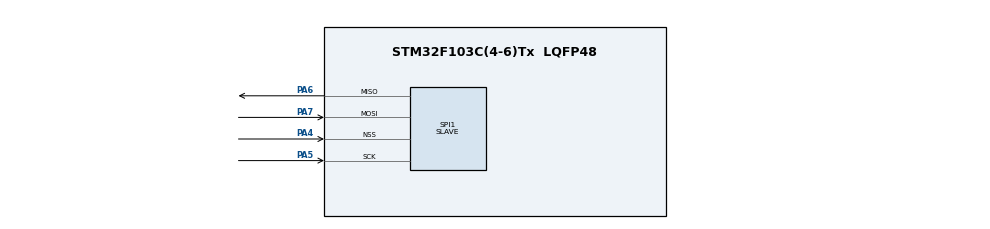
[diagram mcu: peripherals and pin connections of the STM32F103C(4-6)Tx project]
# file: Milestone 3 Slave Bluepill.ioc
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Mcu.Family=STM32F1
Mcu.Name=STM32F103C(4-6)Tx
Mcu.Package=LQFP48
NVIC.PriorityGroup=NVIC_PRIORITYGROUP_4
NVIC.SPI1_IRQn=true\:0\:0\:false\:false\:true\:true\:true\:true
PA4.Mode=NSS_Signal_Hard_Input
PA4.Signal=SPI1_NSS
PA5.Mode=Full_Duplex_Slave
PA5.Signal=SPI1_SCK
PA6.Mode=Full_Duplex_Slave
PA6.Signal=SPI1_MISO
PA7.Mode=Full_Duplex_Slave
PA7.Signal=SPI1_MOSI
ProjectManager.HeapSize=0x200
ProjectManager.StackSize=0x400
ProjectManager.TargetToolchain=STM32CubeIDE
RCC.APB1Freq_Value=8000000
RCC.APB2Freq_Value=8000000
SPI1.Direction=SPI_DIRECTION_2LINES
SPI1.Mode=SPI_MODE_SLAVE
SPI1.VirtualNSS=VM_NSSHARD
SPI1.VirtualType=VM_SLAVE
VP_SYS_VS_ND.Mode=No_Debug
board=custom

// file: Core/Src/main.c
/* USER CODE BEGIN Header */
/**
  ******************************************************************************
  * @file           : main.c
  * @brief          : Main program body
  ******************************************************************************
  * @attention
  *
  * Copyright (c) 2026 STMicroelectronics.
  * All rights reserved.
  *
  * This software is licensed under terms that can be found in the LICENSE file
  * in the root directory of this software component.
  * If no LICENSE file comes with this software, it is provided AS-IS.
  *
  ******************************************************************************
  */
/* USER CODE END Header */
#include "main.h"
#include "string.h"
#include <stdio.h>

/* USER CODE BEGIN PM */
#pragma pack(push, 1)
struct motor_data {
    uint8_t voltage_x10; // 1 byte
    uint16_t speed;      // 2 bytes
};                       // Total = 3 bytes = 24 bits
#pragma pack(pop)

uint16_t rx_id;
struct motor_data tx_buffer = {0, 0};

struct motor_data record_motor_datas[6] = {
		{123, 200},
		{142, 150},
		{138, 100},
		{115, 220},
		{109, 280},
		{0, 0} // default value for invalide case_IDs
};

/* USER CODE END PM */

SPI_HandleTypeDef hspi1;

void SystemClock_Config(void);
static void MX_GPIO_Init(void);
static void MX_SPI1_Init(void);

int main(void)
{

  /* MCU Configuration--------------------------------------------------------*/

  /* Reset of all peripherals, Initializes the Flash interface and the Systick. */
  HAL_Init();

  /* Configure the system clock */
  SystemClock_Config();

  /* Initialize all configured peripherals */
  MX_GPIO_Init();
  MX_SPI1_Init();
  /* USER CODE BEGIN 2 */
  __HAL_SPI_DISABLE(&hspi1);
  __HAL_SPI_CLEAR_OVRFLAG(&hspi1);
  __HAL_SPI_ENABLE(&hspi1);
  /* USER CODE END 2 */

  /* Infinite loop */
  /* USER CODE BEGIN WHILE */
  while (1)
  {
	  if (HAL_SPI_Receive(&hspi1, (uint8_t *)&rx_id, sizeof(rx_id), 100) == HAL_OK)
	      {
	          switch (rx_id)
	          {
				case 0x1001:
					tx_buffer = record_motor_datas[0];
				break;
				case 0x1002:
					tx_buffer = record_motor_datas[1];
				break;
				case 0x1003:
					tx_buffer = record_motor_datas[2];
				break;
				case 0x1004:
					tx_buffer = record_motor_datas[3];
				break;
				case 0x1005:
					tx_buffer = record_motor_datas[4];
				break;
				default:
					tx_buffer = record_motor_datas[5];
				break;
	          }

	          // Wait for master to clock out the 4 response bytes
	          HAL_SPI_Transmit(&hspi1, (uint8_t *)&tx_buffer, sizeof(tx_buffer), 200);
	      }
  }
  /* USER CODE END 3 */
}

void SystemClock_Config(void)
{
  RCC_OscInitTypeDef RCC_OscInitStruct = {0};
  RCC_ClkInitTypeDef RCC_ClkInitStruct = {0};

  /** Initializes the RCC Oscillators according to the specified parameters
  * in the RCC_OscInitTypeDef structure.
  */
  RCC_OscInitStruct.OscillatorType = RCC_OSCILLATORTYPE_HSI;
  RCC_OscInitStruct.HSIState = RCC_HSI_ON;
  RCC_OscInitStruct.HSICalibrationValue = RCC_HSICALIBRATION_DEFAULT;
  RCC_OscInitStruct.PLL.PLLState = RCC_PLL_NONE;
  if (HAL_RCC_OscConfig(&RCC_OscInitStruct) != HAL_OK)
  {
    Error_Handler();
  }

  /** Initializes the CPU, AHB and APB buses clocks
  */
  RCC_ClkInitStruct.ClockType = RCC_CLOCKTYPE_HCLK|RCC_CLOCKTYPE_SYSCLK
                              |RCC_CLOCKTYPE_PCLK1|RCC_CLOCKTYPE_PCLK2;
  RCC_ClkInitStruct.SYSCLKSource = RCC_SYSCLKSOURCE_HSI;
  RCC_ClkInitStruct.AHBCLKDivider = RCC_SYSCLK_DIV1;
  RCC_ClkInitStruct.APB1CLKDivider = RCC_HCLK_DIV1;
  RCC_ClkInitStruct.APB2CLKDivider = RCC_HCLK_DIV1;

  if (HAL_RCC_ClockConfig(&RCC_ClkInitStruct, FLASH_LATENCY_0) != HAL_OK)
  {
    Error_Handler();
  }
}

static void MX_SPI1_Init(void)
{

  /* SPI1 parameter configuration*/
  hspi1.Instance = SPI1;
  hspi1.Init.Mode = SPI_MODE_SLAVE;
  hspi1.Init.Direction = SPI_DIRECTION_2LINES;
  hspi1.Init.DataSize = SPI_DATASIZE_8BIT;
  hspi1.Init.CLKPolarity = SPI_POLARITY_LOW;
  hspi1.Init.CLKPhase = SPI_PHASE_1EDGE;
  hspi1.Init.NSS = SPI_NSS_HARD_INPUT;
//  hspi1.Init.NSS = SPI_NSS_SOFT;
  hspi1.Init.FirstBit = SPI_FIRSTBIT_MSB;
  hspi1.Init.TIMode = SPI_TIMODE_DISABLE;
  hspi1.Init.CRCCalculation = SPI_CRCCALCULATION_DISABLE;
  hspi1.Init.CRCPolynomial = 10;
  if (HAL_SPI_Init(&hspi1) != HAL_OK)
  {
    Error_Handler();
  }
  /* USER CODE BEGIN SPI1_Init 2 */
  HAL_NVIC_SetPriority(SPI1_IRQn, 0, 0);
  HAL_NVIC_EnableIRQ(SPI1_IRQn);
  /* USER CODE END SPI1_Init 2 */

}

static void MX_GPIO_Init(void)
{

  /* GPIO Ports Clock Enable */
  __HAL_RCC_GPIOA_CLK_ENABLE();

}

void Error_Handler(void)
{
  __disable_irq();
  while (1)
  {
  }
}
